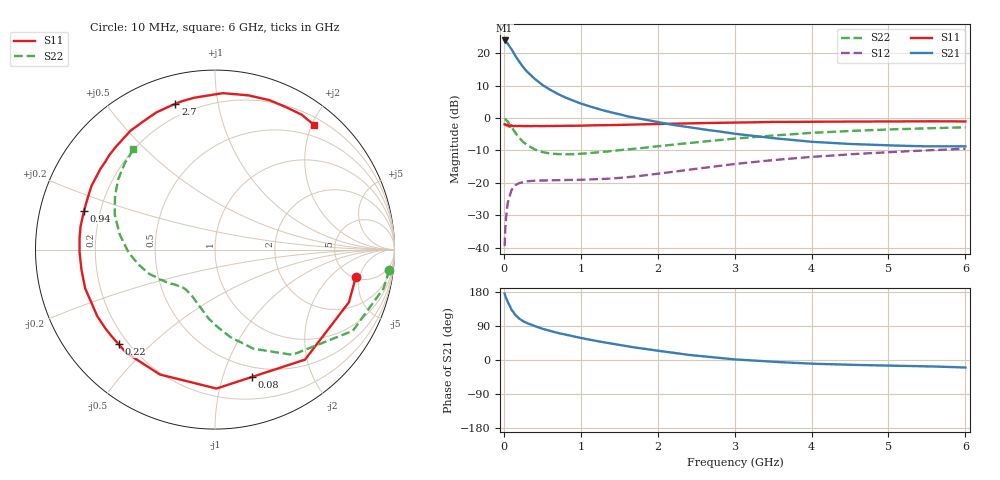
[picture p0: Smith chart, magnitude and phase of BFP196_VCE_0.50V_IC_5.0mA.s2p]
! Infineon Technologies  Discrete & RF Semiconductors
! BFP196
! VCE = 0.50V,  IC = 5.0mA
! Common Emitter S-Parameters:  Jan 2016
# GHz  S  MA  R  50
!  f  S11  S21  S12  S22
! GHz  MAG  ANG  MAG  ANG  MAG  ANG  MAG  ANG
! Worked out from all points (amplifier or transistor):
!   210 points, 10 MHz to 6 GHz, reference 50 ohm
!   highest |S21| = 24.0 dB at 10 MHz (marker M1)
!   |S21| within 3 dB of that: start of sweep to 107.1 MHz
!   unconditionally stable (mu >= 1): 1.035 GHz to end of sweep
!   at 185 MHz: K = 0.21, MSG = 19.1 dB, |S12| = -20.3 dB
!   at 1.52 GHz: K = 1.24, MAG = 6.8 dB, |S12| = -18.4 dB
!   at 6 GHz: K = 1.06, MAG = -1.1 dB, |S12| = -9.5 dB
!   S11 on the Smith chart (normalised r, x): 10 MHz: 5.15, -4.38; 80 MHz: 0.40, -1.25; 220 MHz: 0.16, -0.40; 940 MHz: 0.14, +0.14; 2.7 GHz: 0.14, +0.76; 6 GHz: 0.31, +2.03
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0.01  0.7993 -11.1  15.81 175.2  0.0105 84.7  0.9776 -6.7
0.02  0.8019 -21.4  15.3 168.3  0.021 78.9  0.9639 -12.9
0.05  0.7921 -50.7  14.24 152.7  0.048 64.0  0.8914 -30.5
0.08  0.7388 -73.8  12.45 141.5  0.065 51.7  0.777 -43.3
0.1  0.7742 -89.4  11.58 132.3  0.0774 46.7  0.7275 -53.7
0.15  0.7606 -113.8  9.093 118.5  0.092 35.6  0.5924 -68.8
0.2  0.7584 -130.7  7.44 109.1  0.099 28.9  0.4963 -79.9
0.22  0.7523 -135.5  6.908 106.7  0.1003 27.1  0.4677 -83.1
0.26  0.7522 -144.3  5.953 101.3  0.1031 24.0  0.4191 -89.9
0.3  0.7536 -150.5  5.231 97.2  0.1054 21.9  0.3854 -95.3
0.4  0.755 -163.4  4.041 89.2  0.1079 18.1  0.3287 -105.1
0.5  0.7524 -171.6  3.26 82.6  0.1086 16.1  0.2982 -112.7
0.7  0.7574 174.9  2.369 71.4  0.1094 15.2  0.2775 -123.1
0.94  0.7607 163.4  1.785 60.8  0.1113 16.4  0.2776 -130.8
1.02  0.7636 159.6  1.649 57.4  0.1116 17.1  0.2817 -133.0
1.4  0.7812 144.8  1.218 43.3  0.1164 21.0  0.3098 -142.0
2.02  0.8127 124.8  0.858 24.0  0.139 28.1  0.368 -156.1
2.7  0.8413 105.2  0.644 7.5  0.1767 28.9  0.4453 -171.4
3.1  0.8554 95.6  0.556 0.5  0.2008 26.4  0.4916 179.5
4.1  0.8794 76.1  0.424 -10.3  0.2559 17.0  0.5986 158.9
5.1  0.8875 62.1  0.376 -15.2  0.3012 6.0  0.6718 142.2
6  0.8869 51.5  0.366 -19.8  0.3351 -4.5  0.7201 129.1
